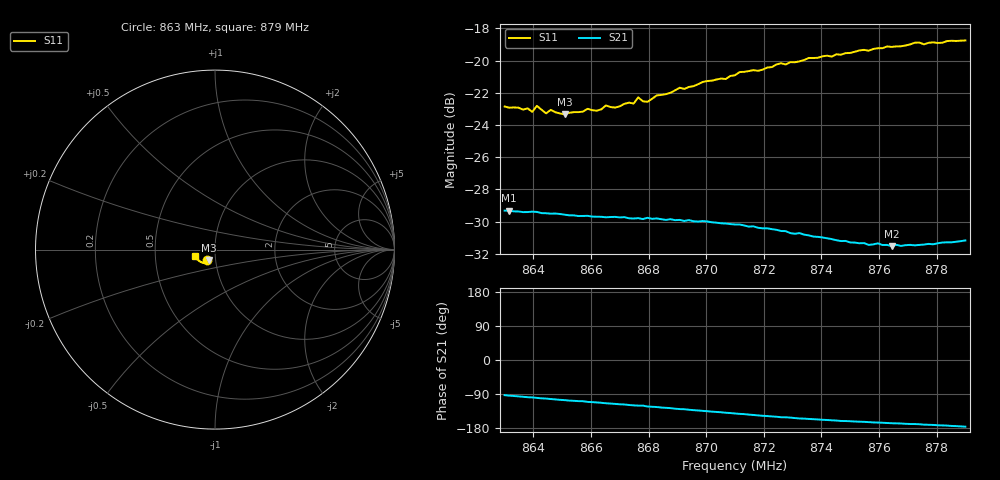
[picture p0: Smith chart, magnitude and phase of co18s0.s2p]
# HZ S RI R 50
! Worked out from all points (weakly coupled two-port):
!   101 points, 863 MHz to 879 MHz, reference 50 ohm
!   highest |S21| = -29.30 dB at 863.16 MHz (marker M1); lowest = -31.5 dB at 876.44 MHz (marker M2)
!   lowest |S11| = -23.3 dB at 865.08 MHz (marker M3), VSWR 1.15, Z = 46.2 - j5.38 ohm
!   |S11| at or under -10 dB: start of sweep to end of sweep
!   S12 and S22 are empty: the file has one direction only
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8.63e8  -0.0448 -0.0564  -0.00167 -0.0342  0 0  0 0
8.6316e8  -0.0437 -0.0565  -0.00238 -0.0342  0 0  0 0
8.638e8  -0.0421 -0.0573  -0.00483 -0.0335  0 0  0 0
8.6396e8  -0.0408 -0.0561  -0.00513 -0.0336  0 0  0 0
8.6412e8  -0.0453 -0.0565  -0.0059 -0.0334  0 0  0 0
8.6444e8  -0.0389 -0.0565  -0.00685 -0.0329  0 0  0 0
8.646e8  -0.0412 -0.057  -0.00752 -0.0326  0 0  0 0
8.6508e8  -0.0358 -0.0579  -0.00911 -0.032  0 0  0 0
8.6572e8  -0.0362 -0.0593  -0.0106 -0.0312  0 0  0 0
8.6588e8  -0.0375 -0.0602  -0.0116 -0.0309  0 0  0 0
8.662e8  -0.0356 -0.0602  -0.0123 -0.0304  0 0  0 0
8.6652e8  -0.0369 -0.0625  -0.0134 -0.0298  0 0  0 0
8.6684e8  -0.0344 -0.0627  -0.0143 -0.0295  0 0  0 0
8.6748e8  -0.0342 -0.0651  -0.016 -0.0281  0 0  0 0
8.6764e8  -0.0384 -0.0666  -0.0164 -0.028  0 0  0 0
8.6796e8  -0.0366 -0.0649  -0.0176 -0.0273  0 0  0 0
8.6844e8  -0.0397 -0.0674  -0.0187 -0.0262  0 0  0 0
8.6908e8  -0.0431 -0.0702  -0.0204 -0.0247  0 0  0 0
8.71e8  -0.0518 -0.0737  -0.0242 -0.0194  0 0  0 0
8.7372e8  -0.0717 -0.0723  -0.026 -0.0115  0 0  0 0
8.7644e8  -0.0935 -0.0584  -0.0259 -0.00604  0 0  0 0
8.79e8  -0.1098 -0.0359  -0.0276 -0.00192  0 0  0 0
